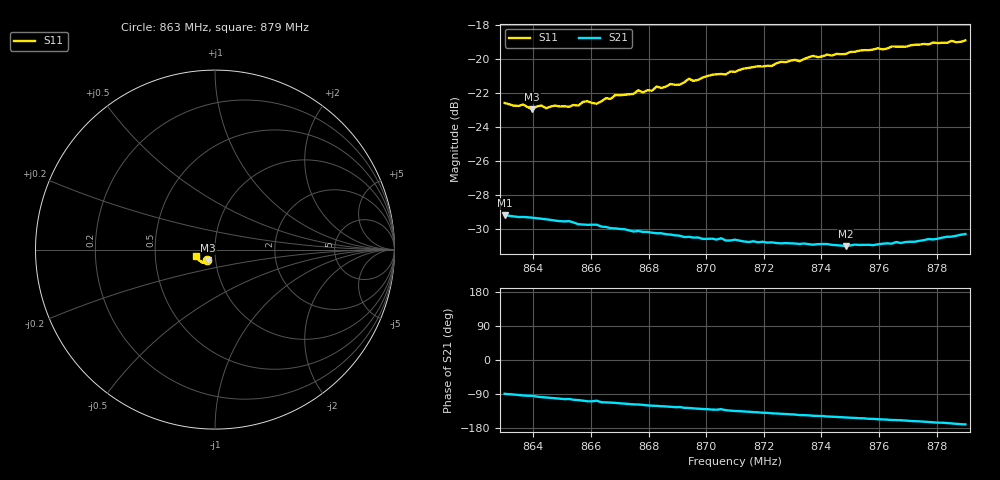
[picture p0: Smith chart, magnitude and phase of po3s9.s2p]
# HZ S RI R 50
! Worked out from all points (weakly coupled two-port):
!   101 points, 863 MHz to 879 MHz, reference 50 ohm
!   highest |S21| = -29.23 dB at 863 MHz (marker M1); lowest = -31.0 dB at 874.84 MHz (marker M2)
!   lowest |S11| = -23.0 dB at 863.96 MHz (marker M3), VSWR 1.15, Z = 46 - j5.53 ohm
!   |S11| at or under -10 dB: start of sweep to end of sweep
!   S12 and S22 are empty: the file has one direction only
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8.63e8  -0.0428 -0.0607  0.000477 -0.0346  0 0  0 0
8.6364e8  -0.0401 -0.0616  -0.00216 -0.0341  0 0  0 0
8.6396e8  -0.0386 -0.0598  -0.00255 -0.034  0 0  0 0
8.6428e8  -0.0379 -0.0624  -0.00468 -0.0335  0 0  0 0
8.6444e8  -0.0377 -0.0609  -0.00518 -0.0333  0 0  0 0
8.6556e8  -0.0368 -0.063  -0.00885 -0.0313  0 0  0 0
8.6572e8  -0.0389 -0.0639  -0.00962 -0.031  0 0  0 0
8.662e8  -0.0349 -0.0652  -0.00972 -0.031  0 0  0 0
8.6684e8  -0.0394 -0.0677  -0.0125 -0.0291  0 0  0 0
8.6828e8  -0.0425 -0.0714  -0.0158 -0.0263  0 0  0 0
8.6844e8  -0.0429 -0.0702  -0.0162 -0.026  0 0  0 0
8.6876e8  -0.0444 -0.0719  -0.0167 -0.0253  0 0  0 0
8.6908e8  -0.0455 -0.0707  -0.0169 -0.0249  0 0  0 0
8.694e8  -0.048 -0.0733  -0.0178 -0.024  0 0  0 0
8.6956e8  -0.0476 -0.0719  -0.0182 -0.0235  0 0  0 0
8.71e8  -0.056 -0.0726  -0.0206 -0.0209  0 0  0 0
8.726e8  -0.0671 -0.0718  -0.0225 -0.0176  0 0  0 0
8.7324e8  -0.0706 -0.0688  -0.0234 -0.0162  0 0  0 0
8.7372e8  -0.0746 -0.07  -0.0238 -0.0153  0 0  0 0
8.7484e8  -0.0813 -0.0643  -0.0247 -0.0134  0 0  0 0
8.7644e8  -0.094 -0.0552  -0.0265 -0.0106  0 0  0 0
8.79e8  -0.1083 -0.0345  -0.03 -0.00534  0 0  0 0
